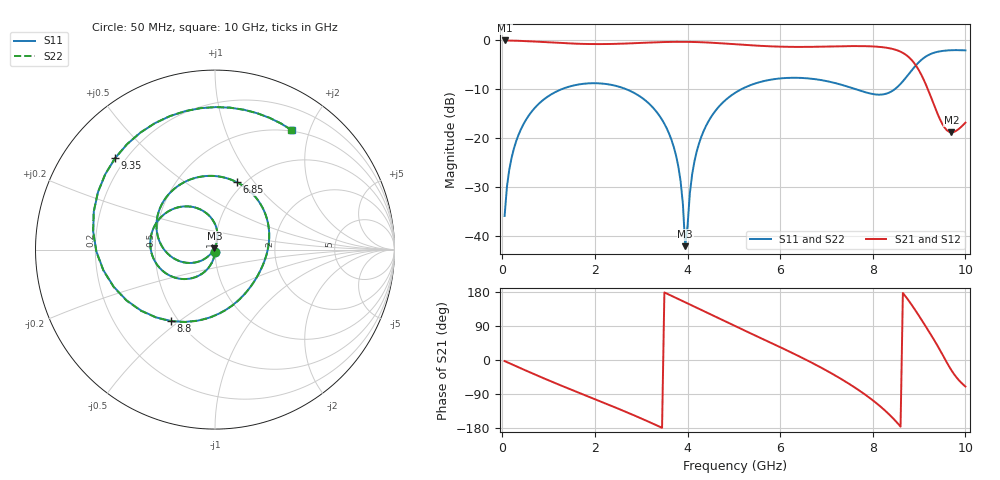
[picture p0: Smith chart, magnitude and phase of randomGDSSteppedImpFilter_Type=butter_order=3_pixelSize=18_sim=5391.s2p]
! freq	dB(S11)	phase(S11)	dB(S12)	phase(S12)
!  dB(S21)	phase(S21)	dB(S22)	phase(S22)
!S-par simulation data
#  GHz  S  DB  R 50
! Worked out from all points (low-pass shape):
!   200 points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, 50 MHz to 10 GHz, reference 50 ohm
!   highest |S21| = -0.01 dB at 50 MHz (marker M1); lowest = -18.8 dB at 9.7 GHz (marker M2)
!   |S21| within 3 dB of the highest: start of sweep to 8.722 GHz
!   lowest |S11| = -42.2 dB at 3.95 GHz (marker M3), VSWR 1.02, Z = 49.6 + j0.681 ohm
!   |S11| at or under -10 dB: start of sweep to 1.281 GHz; 2.677 GHz to 5.162 GHz (2.485 GHz wide, 63.4 % of centre); 7.632 GHz to 8.473 GHz (841.5 MHz wide, 10.5 % of centre)
!   |S22| runs from -41.8 to -2.0 dB; largest |S21 - S12| = 0
!   S11 on the Smith chart (normalised r, x): 50 MHz: 1.00, -0.03; 6.85 GHz: 0.92, +0.82; 8.8 GHz: 0.46, -0.47; 9.35 GHz: 0.16, +0.38; 10 GHz: 0.49, +1.73
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0.05  -35.97 -92.7  -0.01 -2.8  -0.01 -2.8  -35.97 -92.7
0.2  -24.07 -101.3  -0.03 -11.1  -0.03 -11.1  -24.07 -101.3
0.5  -16.45 -117.9  -0.14 -27.3  -0.14 -27.3  -16.45 -117.9
1.75  -8.89 178.3  -0.71 -91.2  -0.71 -91.2  -8.89 178.3
2.55  -9.57 138.9  -0.68 -130.8  -0.68 -130.8  -9.57 138.9
3.4  -15.53 94.8  -0.36 -176.1  -0.36 -176.1  -15.53 94.9
3.8  -25.77 76.5  -0.28 161.0  -0.28 161.0  -25.76 76.9
3.9  -33.55 80.3  -0.28 155.2  -0.28 155.2  -33.50 81.3
3.95  -42.16 118.4  -0.29 152.3  -0.29 152.3  -41.81 119.8
4.1  -27.42 -134.9  -0.31 143.5  -0.31 143.5  -27.41 -135.5
4.25  -21.05 -139.6  -0.35 134.7  -0.35 134.7  -21.05 -139.9
5.05  -10.60 176.8  -0.80 88.1  -0.80 88.1  -10.60 176.7
5.95  -7.84 126.1  -1.26 36.8  -1.26 36.8  -7.84 126.1
6.7  -7.87 81.7  -1.31 -8.2  -1.31 -8.2  -7.87 81.6
6.85  -8.07 72.2  -1.29 -17.9  -1.29 -17.9  -8.07 72.1
7.75  -10.36 8.0  -1.16 -84.0  -1.16 -84.0  -10.36 8.0
8.35  -10.71 -51.5  -1.58 -143.1  -1.58 -143.1  -10.70 -51.3
8.8  -6.62 -121.5  -3.63 152.6  -3.63 152.6  -6.61 -121.2
9.1  -3.60 -179.1  -8.05 97.1  -8.05 97.1  -3.60 -178.8
9.35  -2.45 137.4  -13.88 47.7  -13.88 47.7  -2.45 137.6
9.7  -2.00 89.7  -18.84 -27.3  -18.84 -27.3  -2.00 89.8
10  -2.04 57.3  -16.85 -70.0  -16.85 -70.0  -2.03 57.4
